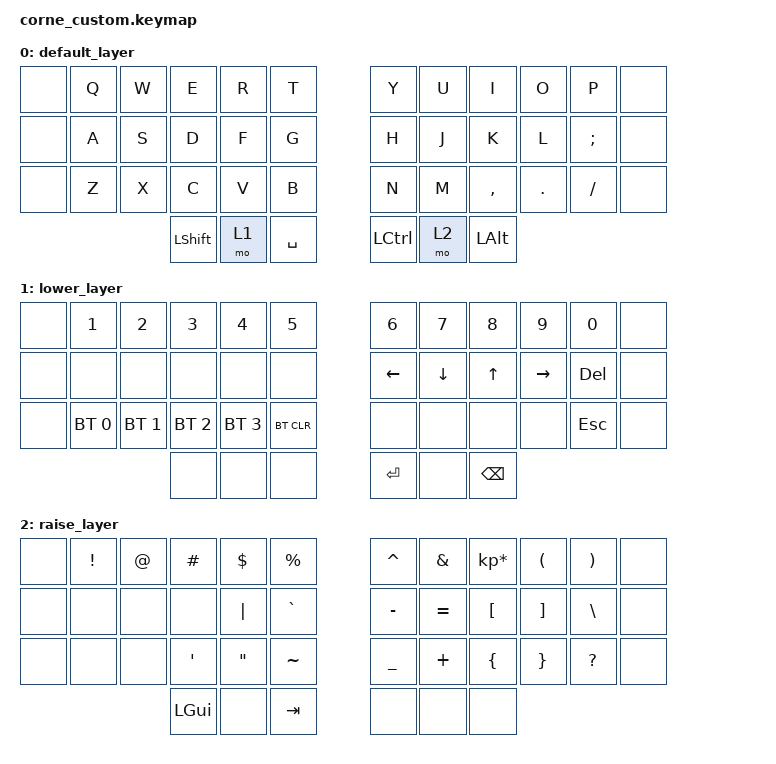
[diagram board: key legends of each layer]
/*
 * Copyright (c) 2020 The ZMK Contributors
 *
 * SPDX-License-Identifier: MIT
 */

#include <behaviors.dtsi>
#include <dt-bindings/zmk/keys.h>
#include <dt-bindings/zmk/bt.h>

/ {
	keymap {
		compatible = "zmk,keymap";

		default_layer {
// -----------------------------------------------------------------------------------------
// |      |  Q  |  W  |  E   |  R  |  T  |   |  Y   |  U   |  I  |  O  |  P  |     |
// |      |  A  |  S  |  D   |  F  |  G  |   |  H   |  J   |  K  |  L  |  ;  |     |
// |      |  Z  |  X  |  C   |  V  |  B  |   |  N   |  M   |  ,  |  .  |  /  |     |
//                    | SHFT | LWR | SPC |   | CTRL | RSE  | ALT |
			bindings = <
   &none    &kp Q &kp W &kp E &kp R &kp T   &kp Y &kp U  &kp I     &kp O   &kp P    &none
   &none    &kp A &kp S &kp D &kp F &kp G   &kp H &kp J  &kp K     &kp L   &kp SEMI &none
   &none    &kp Z &kp X &kp C &kp V &kp B   &kp N &kp M  &kp COMMA &kp DOT &kp FSLH &none
		  &kp LSHIFT &mo 1 &kp SPACE   &kp LCTRL &mo 2 &kp LALT
			>;
		};
		lower_layer {
// -----------------------------------------------------------------------------------------
// |      |  1  |  2  |  3  |  4  |  5  |   |  6  |  7  |  8   |  9  |  0  |      |
// |      |     |     |     |     |     |   | LFT | DWN |  UP  | RGT | DEL |      |
// |      | BT1 | BT2 | BT3 | BT4 | BTC |   |     |     |      |     | ESC |      |
//                    |     |     |     |   | ENT |     | BKSP |
			bindings = <
   &none     &kp N1       &kp N2       &kp N3       &kp N4       &kp N5       &kp N6   &kp N7   &kp N8 &kp N9    &kp N0     &none
   &none     &none        &none        &none        &none        &none        &kp LEFT &kp DOWN &kp UP &kp RIGHT &kp DELETE &none
   &none     &bt BT_SEL 0 &bt BT_SEL 1 &bt BT_SEL 2 &bt BT_SEL 3 &bt BT_CLR   &none    &none    &none  &none     &kp ESCAPE &none
				    &none     &none     &none      &kp RET  &none   &kp BACKSPACE
			>;
		};

		raise_layer {
// -----------------------------------------------------------------------------------------
// |  TAB |  !  |  @  |  #  |  $  |  %  |   |  ^  |  &  |  *  |  (  |  )  |    |
// | CTRL |     |     |     | '|' |  `  |   |  -  |  =  |  [  |  ]  |  \  |    |
// | SHFT |     |     |  '  |  "  |  ~  |   |  _  |  +  |  {  |  }  |  ?  |    |
//                    | GUI |     | TAB |   |     |     |     |
			bindings = <
   &none  &kp EXCL &kp AT &kp HASH           &kp DLLR            &kp PRCNT   &kp CARET &kp AMPS  &kp KP_MULTIPLY &kp LPAR &kp RPAR     &none
   &none  &none    &none  &none              &kp PIPE            &kp GRAVE   &kp MINUS &kp EQUAL &kp LBKT        &kp RBKT &kp BSLH     &none
   &none  &none    &none  &kp SINGLE_QUOTE   &kp DOUBLE_QUOTES   &kp TILDE   &kp UNDER &kp PLUS  &kp LBRC        &kp RBRC &kp QUESTION &none
			     &kp LGUI &none   &kp TAB   &none   &none    &none
			>;
		};
	};
};
